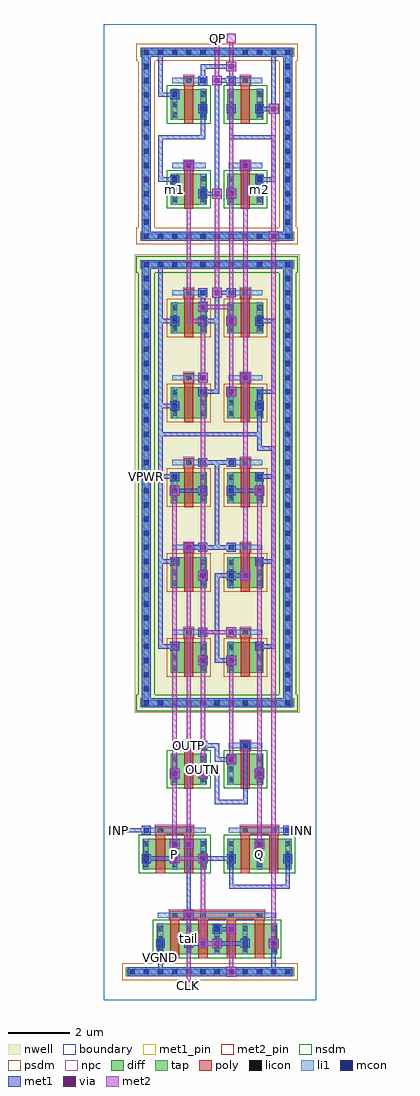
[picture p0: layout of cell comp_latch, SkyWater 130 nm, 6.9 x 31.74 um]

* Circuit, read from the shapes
.subckt comp_latch CLK INN INP OUTN OUTP P Q QN QP VGND VPWR m1 m2 tail
XM1 P INP tail VGND sky130_fd_pr__nfet_01v8 w=1 l=0.3 m=2
XM2 tail CLK VGND VGND sky130_fd_pr__nfet_01v8 w=1 l=0.3 m=4
XM3 OUTN OUTP P VGND sky130_fd_pr__nfet_01v8 w=1 l=0.3
XM4 QP OUTN m1 VGND sky130_fd_pr__nfet_01v8 w=1 l=0.3
XM5 m1 QN VGND VGND sky130_fd_pr__nfet_01v8 w=1 l=0.3
XM6 Q INN tail VGND sky130_fd_pr__nfet_01v8 w=1 l=0.3 m=2
XM7 Q OUTN OUTP VGND sky130_fd_pr__nfet_01v8 w=1 l=0.3
XM8 m2 OUTP QN VGND sky130_fd_pr__nfet_01v8 w=1 l=0.3
XM9 VGND QP m2 VGND sky130_fd_pr__nfet_01v8 w=1 l=0.3
XM10 OUTN OUTP VPWR VPWR sky130_fd_pr__pfet_01v8 w=1 l=0.3
XM11 OUTN CLK VPWR VPWR sky130_fd_pr__pfet_01v8 w=1 l=0.3
XM12 P CLK VPWR VPWR sky130_fd_pr__pfet_01v8 w=1 l=0.3
XM13 QP OUTN VPWR VPWR sky130_fd_pr__pfet_01v8 w=1 l=0.3
XM14 QP QN VPWR VPWR sky130_fd_pr__pfet_01v8 w=1 l=0.3
XM15 VPWR OUTN OUTP VPWR sky130_fd_pr__pfet_01v8 w=1 l=0.3
XM16 VPWR CLK OUTP VPWR sky130_fd_pr__pfet_01v8 w=1 l=0.3
XM17 VPWR CLK Q VPWR sky130_fd_pr__pfet_01v8 w=1 l=0.3
XM18 VPWR OUTP QN VPWR sky130_fd_pr__pfet_01v8 w=1 l=0.3
XM19 VPWR QP QN VPWR sky130_fd_pr__pfet_01v8 w=1 l=0.3
.ends

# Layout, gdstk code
import gdstk
lib = gdstk.Library(unit=1e-6, precision=1e-09)
def R(c, l, rs):  # rectangles x0, y0, x1, y1
    for r in rs: c.add(gdstk.rectangle(r[:2], r[2:], *l))
def A(c, l, x, y, w, h, nx, ny, dx, dy):  # array of equal rectangles
    R(c, l, [(x+i*dx, y+j*dy, x+i*dx+w, y+j*dy+h) for i in range(nx) for j in range(ny)])
nwell = (64, 20)
diff = (65, 20)
tap = (65, 44)
poly = (66, 20)
licon = (66, 44)
li1 = (67, 20)
mcon = (67, 44)
met1_pin = (68, 16)
met1 = (68, 20)
via = (68, 44)
met2_pin = (69, 16)
met2 = (69, 20)
nsdm = (93, 44)
psdm = (94, 20)
npc = (95, 20)
boundary = (235, 4)

comp_latch = lib.new_cell('comp_latch')
R(comp_latch, nwell, [(0.995,9.335,6.365,24.245)])
A(comp_latch, diff, 2.175, 10.64, 1.17, 1, 1, 5, 0, 2.76)
A(comp_latch, diff, 4.015, 10.64, 1.17, 1, 1, 5, 0, 2.76)
R(comp_latch, diff, [(1.715,1.485,5.645,2.485), (1.255,4.245,3.345,5.245), (4.015,4.245,6.105,5.245), (2.175,7.005,3.345,8.005), (4.015,7.005,5.185,8.005), (2.175,25.865,3.345,26.865), (4.015,25.865,5.185,26.865), (2.175,28.625,3.345,29.625), (4.015,28.625,5.185,29.625)])
R(comp_latch, tap, [(0.715,0.775,6.185,1.065), (1.175,9.515,6.185,9.805), (1.235,9.515,1.525,24.065), (5.835,9.515,6.125,24.065), (1.175,23.775,6.185,24.065), (1.175,24.695,6.185,24.985), (1.235,24.695,1.525,30.965), (5.835,24.695,6.125,30.965), (1.175,30.675,6.185,30.965)])
A(comp_latch, poly, 2.15, 1.355, 0.3, 1.405, 4, 1, 0.92, 0)
A(comp_latch, poly, 2.61, 10.51, 0.3, 1.45, 1, 5, 0, 2.76)
A(comp_latch, poly, 4.45, 10.51, 0.3, 1.45, 1, 5, 0, 2.76)
A(comp_latch, poly, 2.595, 11.825, 0.33, 0.27, 1, 5, 0, 2.76)
A(comp_latch, poly, 4.435, 11.825, 0.33, 0.27, 1, 5, 0, 2.76)
R(comp_latch, poly, [(2.135,2.625,5.225,2.895), (1.69,4.115,1.99,5.52), (2.61,4.115,2.91,5.52), (4.45,4.115,4.75,5.52), (5.37,4.115,5.67,5.52), (1.675,5.385,2.925,5.655), (4.435,5.385,5.685,5.655), (2.61,6.875,2.91,8.28), (4.45,6.875,4.75,8.28), (2.595,8.145,2.925,8.415), (4.435,8.145,4.765,8.415), (2.61,25.735,2.91,27.14), (4.45,25.735,4.75,27.14), (2.595,27.005,2.925,27.275), (4.435,27.005,4.765,27.275), (2.61,28.495,2.91,29.9), (4.45,28.495,4.75,29.9), (2.595,29.765,2.925,30.035), (4.435,29.765,4.765,30.035)])
A(comp_latch, licon, 0.835, 0.835, 0.17, 0.17, 12, 1, 0.46, 0)
A(comp_latch, licon, 1.755, 1.56, 0.17, 0.17, 5, 3, 0.92, 0.34)
A(comp_latch, licon, 2.215, 2.675, 0.17, 0.17, 4, 2, 0.92, 4.405)
A(comp_latch, licon, 1.295, 4.32, 0.17, 0.17, 6, 3, 0.92, 0.34)
A(comp_latch, licon, 2.215, 7.42, 0.17, 0.17, 4, 2, 0.92, 0.34)
A(comp_latch, licon, 1.295, 9.575, 0.17, 0.17, 11, 2, 0.46, 14.26)
A(comp_latch, licon, 1.295, 10.035, 0.17, 0.17, 1, 30, 0, 0.46)
A(comp_latch, licon, 5.895, 10.035, 0.17, 0.17, 1, 30, 0, 0.46)
A(comp_latch, licon, 2.215, 10.715, 0.17, 0.17, 4, 3, 0.92, 0.34)
A(comp_latch, licon, 2.675, 11.875, 0.17, 0.17, 1, 5, 0, 2.76)
A(comp_latch, licon, 4.515, 11.875, 0.17, 0.17, 1, 5, 0, 2.76)
A(comp_latch, licon, 2.215, 13.475, 0.17, 0.17, 4, 3, 0.92, 0.34)
A(comp_latch, licon, 2.215, 16.235, 0.17, 0.17, 4, 3, 0.92, 0.34)
A(comp_latch, licon, 2.215, 18.995, 0.17, 0.17, 4, 3, 0.92, 0.34)
A(comp_latch, licon, 2.215, 21.755, 0.17, 0.17, 4, 3, 0.92, 0.34)
A(comp_latch, licon, 1.295, 24.755, 0.17, 0.17, 11, 2, 0.46, 5.98)
A(comp_latch, licon, 1.295, 25.215, 0.17, 0.17, 1, 12, 0, 0.46)
A(comp_latch, licon, 5.895, 25.215, 0.17, 0.17, 1, 12, 0, 0.46)
A(comp_latch, licon, 2.215, 25.94, 0.17, 0.17, 4, 3, 0.92, 0.34)
A(comp_latch, licon, 2.215, 28.7, 0.17, 0.17, 4, 3, 0.92, 0.34)
R(comp_latch, licon, [(1.755,5.435,1.925,5.605), (2.675,5.435,2.845,5.605), (4.515,5.435,4.685,5.605), (5.435,5.435,5.605,5.605), (2.675,8.195,2.845,8.365), (4.515,8.195,4.685,8.365), (2.675,27.055,2.845,27.225), (4.515,27.055,4.685,27.225), (2.675,29.815,2.845,29.985), (4.515,29.815,4.685,29.985)])
A(comp_latch, li1, 1.755, 1.48, 0.17, 1.01, 5, 1, 0.92, 0)
A(comp_latch, li1, 1.295, 4.24, 0.17, 1.01, 6, 1, 0.92, 0)
A(comp_latch, li1, 2.215, 7, 0.17, 1.01, 4, 2, 0.92, 3.635)
A(comp_latch, li1, 2.215, 11.875, 1.09, 0.17, 1, 5, 0, 2.76)
A(comp_latch, li1, 4.055, 11.875, 1.09, 0.17, 1, 5, 0, 2.76)
A(comp_latch, li1, 2.215, 13.395, 0.17, 1.01, 4, 4, 0.92, 2.76)
A(comp_latch, li1, 2.215, 25.86, 0.17, 1.01, 4, 2, 0.92, 2.76)
R(comp_latch, li1, [(0.755,0.835,6.145,1.005), (1.755,2.675,5.605,2.845), (1.295,5.435,3.305,5.605), (4.055,5.435,6.065,5.605), (2.215,8.195,3.305,8.365), (4.055,8.195,5.145,8.365), (1.215,9.575,6.145,9.745), (1.295,9.575,1.465,24.005), (5.895,9.575,6.065,24.005), (1.215,23.835,6.145,24.005), (1.215,24.755,6.145,24.925), (1.295,24.755,1.465,30.905), (5.895,24.755,6.065,30.905), (2.215,27.055,3.305,27.225), (4.055,27.055,5.145,27.225), (2.215,29.815,3.305,29.985), (4.055,29.815,5.145,29.985), (1.215,30.735,6.145,30.905)])
A(comp_latch, mcon, 0.835, 0.835, 0.17, 0.17, 12, 1, 0.46, 0)
A(comp_latch, mcon, 4.055, 4.515, 0.17, 0.17, 1, 3, 0, 3.22)
A(comp_latch, mcon, 1.295, 9.575, 0.17, 0.17, 11, 2, 0.46, 14.26)
A(comp_latch, mcon, 1.295, 10.035, 0.17, 0.17, 1, 26, 0, 0.46)
A(comp_latch, mcon, 5.895, 10.035, 0.17, 0.17, 1, 22, 0, 0.46)
A(comp_latch, mcon, 2.215, 11.415, 0.17, 0.17, 1, 3, 0, 2.76)
A(comp_latch, mcon, 4.975, 11.415, 0.17, 0.17, 1, 3, 0, 2.76)
A(comp_latch, mcon, 3.135, 19.695, 0.17, 0.17, 1, 3, 0, 3.22)
A(comp_latch, mcon, 4.055, 19.695, 0.17, 0.17, 1, 3, 0, 3.22)
A(comp_latch, mcon, 3.135, 20.155, 0.17, 0.17, 3, 1, 1.38, 0)
A(comp_latch, mcon, 5.895, 20.615, 0.17, 0.17, 1, 3, 0, 0.46)
A(comp_latch, mcon, 1.295, 21.995, 0.17, 0.17, 6, 1, 0.92, 0)
A(comp_latch, mcon, 1.295, 22.455, 0.17, 0.17, 1, 3, 0, 0.46)
A(comp_latch, mcon, 5.895, 22.455, 0.17, 0.17, 1, 3, 0, 0.46)
A(comp_latch, mcon, 1.295, 24.755, 0.17, 0.17, 11, 2, 0.46, 5.98)
A(comp_latch, mcon, 1.295, 25.215, 0.17, 0.17, 1, 12, 0, 0.46)
A(comp_latch, mcon, 5.895, 25.215, 0.17, 0.17, 1, 8, 0, 0.46)
A(comp_latch, mcon, 3.135, 28.895, 0.17, 0.17, 4, 1, 0.92, 0)
A(comp_latch, mcon, 5.895, 29.355, 0.17, 0.17, 1, 3, 0, 0.46)
R(comp_latch, mcon, [(1.755,1.755,1.925,1.925), (2.675,1.755,2.845,1.925), (4.515,1.755,4.685,1.925), (5.435,1.755,5.605,1.925), (3.595,2.215,3.765,2.385), (2.675,2.675,2.845,2.845), (1.295,4.515,1.465,4.685), (3.135,4.515,3.305,4.685), (5.895,4.515,6.065,4.685), (2.215,4.975,2.385,5.145), (4.975,4.975,5.145,5.145), (1.295,5.435,1.465,5.605), (5.895,5.435,6.065,5.605), (2.215,7.275,2.385,7.445), (3.135,7.275,3.305,7.445), (4.975,7.275,5.145,7.445), (3.135,8.195,3.305,8.365), (4.515,8.195,4.685,8.365), (3.135,10.955,3.305,11.125), (3.135,11.875,3.305,12.045), (4.055,11.875,4.225,12.045), (3.135,13.715,3.305,13.885), (4.055,13.715,4.225,13.885), (3.135,14.635,3.305,14.805), (4.055,14.635,4.225,14.805), (3.135,16.475,3.305,16.645), (4.055,16.475,4.225,16.645), (3.135,17.395,3.305,17.565), (4.055,17.395,4.225,17.565), (2.215,19.235,2.385,19.405), (4.975,19.235,5.145,19.405), (2.215,26.595,2.385,26.765), (4.975,26.595,5.145,26.765), (2.675,27.055,2.845,27.225), (4.515,27.055,4.685,27.225), (2.215,29.355,2.385,29.525), (3.135,29.815,3.305,29.985), (4.055,29.815,4.225,29.985)])
R(comp_latch, met1_pin, [(1.77,0.85,1.91,1.91), (1.31,16.95,1.45,17.09)])
A(comp_latch, met1, 3.06, 1.68, 0.32, 0.32, 1, 3, 0, 2.76)
A(comp_latch, met1, 3.995, 4.455, 0.29, 0.29, 1, 3, 0, 3.22)
A(comp_latch, met1, 2.155, 11.355, 0.29, 0.29, 1, 3, 0, 2.76)
A(comp_latch, met1, 4.915, 11.355, 0.29, 0.29, 1, 3, 0, 2.76)
A(comp_latch, met1, 4.99, 11.43, 0.6, 0.14, 1, 3, 0, 2.76)
A(comp_latch, met1, 3.15, 17.41, 0.6, 0.14, 1, 3, 0, 2.3)
A(comp_latch, met1, 3.995, 19.635, 0.29, 0.29, 1, 3, 0, 3.22)
A(comp_latch, met1, 3.98, 21.92, 0.32, 0.32, 1, 3, 0, 4.14)
A(comp_latch, met1, 2.155, 21.935, 0.29, 0.29, 4, 1, 0.92, 0)
A(comp_latch, met1, 3.075, 28.835, 0.29, 0.29, 3, 1, 0.92, 0)
R(comp_latch, met1, [(3.98,0.76,4.3,1.08), (0.775,0.775,6.125,1.065), (1.77,0.85,1.91,1.91), (1.77,0.85,4.21,0.99), (4.07,0.85,5.59,0.99), (4.07,0.85,4.21,0.99), (5.45,0.85,5.59,1.91), (3.52,1.68,3.84,2), (5.36,1.68,5.68,2), (1.695,1.695,1.985,1.985), (2.615,1.695,2.905,1.985), (4.455,1.695,4.745,1.985), (5.375,1.695,5.665,1.985), (2.69,1.77,3.29,1.91), (3.61,1.77,4.67,1.91), (3.98,2.14,4.3,2.46), (3.535,2.155,3.825,2.445), (3.61,2.23,4.21,2.37), (2.6,2.6,2.92,2.92), (2.615,2.615,2.905,2.905), (2.69,2.69,2.83,5.13), (4.07,3.61,4.21,4.67), (4.07,3.61,6.05,3.75), (5.91,3.61,6.05,4.67), (2.14,4.44,2.46,4.76), (1.235,4.455,1.525,4.745), (3.075,4.455,3.365,4.745), (5.835,4.455,6.125,4.745), (1.31,4.53,2.37,4.67), (3.15,4.53,4.21,4.67), (2.14,4.9,2.46,5.22), (2.6,4.9,2.92,5.22), (4.9,4.9,5.22,5.22), (2.155,4.915,2.445,5.205), (4.915,4.915,5.205,5.205), (0.3,5.36,0.62,5.68), (6.28,5.36,6.6,5.68), (1.235,5.375,1.525,5.665), (5.835,5.375,6.125,5.665), (0.39,5.45,1.45,5.59), (5.91,5.45,6.51,5.59), (3.61,6.37,3.75,7.43), (3.61,6.37,4.67,6.51), (4.53,6.37,4.67,8.35), (2.14,7.2,2.46,7.52), (4.9,7.2,5.22,7.52), (2.155,7.215,2.445,7.505), (3.075,7.215,3.365,7.505), (4.915,7.215,5.205,7.505), (3.15,7.29,3.75,7.43), (3.98,7.66,4.3,7.98), (3.61,7.75,4.21,7.89), (3.61,7.75,3.75,8.35), (3.075,8.135,3.365,8.425), (4.455,8.135,4.745,8.425), (3.15,8.21,3.75,8.35), (1.235,9.515,1.525,24.065), (1.235,9.515,6.125,9.805), (5.835,9.515,6.125,24.065), (3.06,10.88,3.38,11.2), (3.98,10.88,4.3,11.2), (3.075,10.895,3.365,11.185), (3.61,10.97,4.21,11.11), (3.61,10.97,3.75,12.03), (1.77,11.43,1.91,14.33), (1.77,11.43,2.37,11.57), (5.45,11.43,5.59,14.33), (3.98,11.8,4.3,12.12), (3.075,11.815,3.365,12.105), (3.995,11.815,4.285,12.105), (3.15,11.89,3.75,12.03), (3.61,11.89,3.75,13.87), (3.06,13.64,3.38,13.96), (4.44,13.64,4.76,13.96), (3.075,13.655,3.365,13.945), (3.995,13.655,4.285,13.945), (3.61,13.73,4.21,13.87), (4.07,13.73,4.67,13.87), (1.77,14.19,1.91,17.09), (1.77,14.19,2.37,14.33), (5.45,14.19,5.59,17.09), (2.6,14.56,2.92,14.88), (3.075,14.575,3.365,14.865), (3.995,14.575,4.285,14.865), (2.69,14.65,3.29,14.79), (3.15,14.65,4.21,14.79), (3.61,14.65,3.75,17.55), (2.14,16.4,2.46,16.72), (4.9,16.4,5.22,16.72), (3.075,16.415,3.365,16.705), (3.995,16.415,4.285,16.705), (2.23,16.49,3.29,16.63), (4.07,16.49,5.13,16.63), (1.31,16.95,2.37,17.09), (1.31,16.95,1.45,17.09), (1.77,16.95,1.91,19.39), (5.45,16.95,5.59,18.01), (3.075,17.335,3.365,17.625), (3.995,17.335,4.285,17.625), (3.61,17.41,4.21,17.55), (4.99,17.87,5.59,18.01), (4.99,17.87,5.13,18.47), (1.77,18.33,5.13,18.47), (4.99,18.33,5.13,19.39), (2.155,19.175,2.445,19.465), (4.915,19.175,5.205,19.465), (1.77,19.25,1.91,22.15), (1.77,19.25,2.37,19.39), (4.99,19.25,5.13,19.85), (3.98,19.62,4.3,19.94), (3.075,19.635,3.365,19.925), (3.61,19.71,3.75,22.15), (4.99,19.71,5.59,19.85), (5.45,19.71,5.59,22.15), (3.06,20.08,3.38,20.4), (4.44,20.08,4.76,20.4), (3.075,20.095,3.365,20.385), (4.455,20.095,4.745,20.385), (1.77,22.01,2.37,22.15), (1.77,22.01,1.91,23.99), (3.61,22.01,3.75,23.07), (4.99,22.01,5.59,22.15), (3.06,22.38,3.38,22.7), (3.15,22.47,3.29,23.07), (3.52,22.84,3.84,23.16), (3.075,22.855,3.365,23.145), (3.61,22.93,4.21,23.07), (1.235,23.775,6.125,24.065), (1.77,23.85,1.91,23.99), (5.36,24.68,5.68,25), (1.235,24.695,1.525,30.965), (1.235,24.695,6.125,24.985), (5.835,24.695,6.125,30.965), (5.45,24.77,5.59,24.91), (3.52,26.06,3.84,26.38), (3.075,26.075,3.365,26.365), (3.15,26.15,3.75,26.29), (3.61,26.15,3.75,29.97), (2.155,26.535,2.445,26.825), (4.915,26.535,5.205,26.825), (1.77,26.61,2.37,26.75), (1.77,26.61,1.91,28.13), (4.99,26.61,5.59,26.75), (5.45,26.61,5.59,28.13), (2.6,26.98,2.92,27.3), (4.44,26.98,4.76,27.3), (2.615,26.995,2.905,27.285), (4.455,26.995,4.745,27.285), (1.77,27.99,3.29,28.13), (3.15,27.99,3.29,29.05), (4.07,27.99,5.59,28.13), (4.07,27.99,4.21,29.05), (5.36,28.82,5.68,29.14), (4.99,28.91,5.59,29.05), (5.45,28.91,5.59,30.89), (2.155,29.295,2.445,29.585), (1.77,29.37,2.37,29.51), (1.77,29.37,1.91,30.89), (3.52,29.74,3.84,30.06), (3.075,29.755,3.365,30.045), (3.995,29.755,4.285,30.045), (3.15,29.83,3.29,30.43), (3.61,29.83,4.21,29.97), (3.15,30.29,4.21,30.43), (1.235,30.675,6.125,30.965), (1.77,30.75,5.59,30.89), (5.45,30.75,5.59,30.89)])
A(comp_latch, via, 3.145, 1.765, 0.15, 0.15, 1, 3, 0, 2.76)
A(comp_latch, via, 4.065, 22.005, 0.15, 0.15, 1, 3, 0, 4.14)
R(comp_latch, via, [(4.065,0.845,4.215,0.995), (3.605,1.765,3.755,1.915), (5.445,1.765,5.595,1.915), (4.065,2.225,4.215,2.375), (2.685,2.685,2.835,2.835), (2.225,4.525,2.375,4.675), (2.225,4.985,2.375,5.135), (2.685,4.985,2.835,5.135), (4.985,4.985,5.135,5.135), (0.385,5.445,0.535,5.595), (6.365,5.445,6.515,5.595), (2.225,7.285,2.375,7.435), (4.985,7.285,5.135,7.435), (4.065,7.745,4.215,7.895), (3.145,10.965,3.295,11.115), (4.065,10.965,4.215,11.115), (4.065,11.885,4.215,12.035), (3.145,13.725,3.295,13.875), (4.525,13.725,4.675,13.875), (2.685,14.645,2.835,14.795), (2.225,16.485,2.375,16.635), (4.985,16.485,5.135,16.635), (4.065,19.705,4.215,19.855), (3.145,20.165,3.295,20.315), (4.525,20.165,4.675,20.315), (3.145,22.465,3.295,22.615), (3.605,22.925,3.755,23.075), (5.445,24.765,5.595,24.915), (3.605,26.145,3.755,26.295), (2.685,27.065,2.835,27.215), (4.525,27.065,4.675,27.215), (5.445,28.905,5.595,29.055), (3.605,29.825,3.755,29.975)])
R(comp_latch, met2_pin, [(2.61,0.31,2.91,0.61), (0.31,5.37,0.61,5.67), (6.29,5.37,6.59,5.67), (3.53,31.13,3.83,31.43), (3.99,31.13,4.29,31.43)])
A(comp_latch, met2, 3.06, 1.68, 0.32, 0.32, 1, 3, 0, 2.76)
A(comp_latch, met2, 3.98, 21.92, 0.32, 0.32, 1, 3, 0, 4.14)
R(comp_latch, met2, [(2.61,0.31,2.91,0.61), (2.69,0.39,2.83,2.83), (2.69,0.39,2.83,0.53), (3.98,0.76,4.3,1.08), (4.07,0.85,4.21,2.37), (3.52,1.68,3.84,2), (5.36,1.68,5.68,2), (3.15,1.77,3.75,1.91), (3.15,1.77,3.29,4.67), (5.45,1.77,5.59,24.91), (3.98,2.14,4.3,2.46), (2.6,2.6,2.92,2.92), (2.14,4.44,2.46,4.76), (2.23,4.53,3.29,4.67), (2.14,4.9,2.46,5.22), (2.6,4.9,2.92,5.22), (4.9,4.9,5.22,5.22), (2.23,4.99,2.37,7.43), (2.69,4.99,2.83,14.79), (4.99,4.99,5.13,7.43), (0.3,5.36,0.62,5.68), (6.28,5.36,6.6,5.68), (0.31,5.37,0.61,5.67), (6.29,5.37,6.59,5.67), (0.39,5.45,0.53,5.59), (6.37,5.45,6.51,5.59), (2.14,7.2,2.46,7.52), (4.9,7.2,5.22,7.52), (2.23,7.29,2.37,16.63), (3.15,7.29,3.29,11.11), (4.99,7.29,5.13,16.63), (3.98,7.66,4.3,7.98), (4.07,7.75,4.21,11.11), (3.06,10.88,3.38,11.2), (3.98,10.88,4.3,11.2), (3.15,10.97,3.29,12.03), (3.98,11.8,4.3,12.12), (3.15,11.89,4.21,12.03), (3.15,11.89,3.29,13.87), (3.06,13.64,3.38,13.96), (4.44,13.64,4.76,13.96), (3.15,13.73,3.29,20.31), (4.53,13.73,4.67,20.31), (2.6,14.56,2.92,14.88), (2.14,16.4,2.46,16.72), (4.9,16.4,5.22,16.72), (3.98,19.62,4.3,19.94), (4.07,19.71,4.21,22.15), (3.06,20.08,3.38,20.4), (4.44,20.08,4.76,20.4), (3.15,20.17,3.29,22.15), (4.53,20.17,4.67,27.21), (2.69,22.01,3.29,22.15), (2.69,22.01,2.83,27.21), (4.07,22.01,4.21,22.61), (3.06,22.38,3.38,22.7), (3.15,22.47,4.21,22.61), (4.07,22.47,4.21,26.29), (3.52,22.84,3.84,23.16), (3.61,22.93,3.75,26.29), (5.36,24.68,5.68,25), (5.45,24.77,5.59,29.05), (3.52,26.06,3.84,26.38), (4.07,26.15,4.21,31.35), (2.6,26.98,2.92,27.3), (4.44,26.98,4.76,27.3), (5.36,28.82,5.68,29.14), (3.52,29.74,3.84,30.06), (3.61,29.83,3.75,31.35), (3.53,31.13,3.83,31.43), (3.99,31.13,4.29,31.43), (3.61,31.21,3.75,31.35), (4.07,31.21,4.21,31.35)])
R(comp_latch, nsdm, [(1.59,1.36,5.77,2.61), (1.13,4.12,3.47,5.37), (3.89,4.12,6.23,5.37), (2.05,6.88,3.47,8.13), (3.89,6.88,5.31,8.13), (1.05,9.39,6.31,9.93), (1.11,9.93,1.65,23.65), (5.71,9.93,6.25,23.65), (1.05,23.65,6.31,24.19), (2.05,25.74,3.47,26.99), (3.89,25.74,5.31,26.99), (2.05,28.5,3.47,29.75), (3.89,28.5,5.31,29.75)])
A(comp_latch, psdm, 2.05, 10.515, 1.42, 1.25, 1, 5, 0, 2.76)
A(comp_latch, psdm, 3.89, 10.515, 1.42, 1.25, 1, 5, 0, 2.76)
R(comp_latch, psdm, [(0.59,0.65,6.31,1.19), (1.05,24.57,6.31,25.11), (1.11,25.11,1.65,30.55), (5.71,25.11,6.25,30.55), (1.05,30.55,6.31,31.09)])
A(comp_latch, npc, 2.575, 11.775, 0.37, 0.37, 1, 5, 0, 2.76)
A(comp_latch, npc, 4.415, 11.775, 0.37, 0.37, 1, 5, 0, 2.76)
R(comp_latch, npc, [(2.115,2.575,5.245,2.945), (1.655,5.335,2.945,5.705), (4.415,5.335,5.705,5.705), (2.575,8.095,2.945,8.465), (4.415,8.095,4.785,8.465), (2.575,26.955,2.945,27.325), (4.415,26.955,4.785,27.325), (2.575,29.715,2.945,30.085), (4.415,29.715,4.785,30.085)])
R(comp_latch, boundary, [(0,0,6.9,31.74)])
comp_latch.add(gdstk.Label('tail', (2.76,1.985), layer=67, texttype=5))
comp_latch.add(gdstk.Label('P', (2.3,4.745), layer=67, texttype=5))
comp_latch.add(gdstk.Label('Q', (5.06,4.745), layer=67, texttype=5))
comp_latch.add(gdstk.Label('OUTP', (2.76,8.28), layer=67, texttype=5))
comp_latch.add(gdstk.Label('OUTN', (3.22,7.505), layer=67, texttype=5))
comp_latch.add(gdstk.Label('m1', (2.3,26.365), layer=67, texttype=5))
comp_latch.add(gdstk.Label('m2', (5.06,26.365), layer=67, texttype=5))
comp_latch.add(gdstk.Label('VPWR', (1.38,17.02), layer=68, texttype=5))
comp_latch.add(gdstk.Label('VGND', (1.84,1.38), layer=68, texttype=5))
comp_latch.add(gdstk.Label('CLK', (2.76,0.46), layer=69, texttype=5))
comp_latch.add(gdstk.Label('INP', (0.46,5.52), layer=69, texttype=5))
comp_latch.add(gdstk.Label('INN', (6.44,5.52), layer=69, texttype=5))
comp_latch.add(gdstk.Label('QP', (3.68,31.28), layer=69, texttype=5))
comp_latch.add(gdstk.Label('QN', (4.14,31.28), layer=69, texttype=5))
comp_latch.add(gdstk.Label('VPWR', (1.38,17.02), layer=68, texttype=16))
comp_latch.add(gdstk.Label('VGND', (1.84,1.38), layer=68, texttype=16))
comp_latch.add(gdstk.Label('CLK', (2.76,0.46), layer=69, texttype=16))
comp_latch.add(gdstk.Label('INP', (0.46,5.52), layer=69, texttype=16))
comp_latch.add(gdstk.Label('INN', (6.44,5.52), layer=69, texttype=16))
comp_latch.add(gdstk.Label('QP', (3.68,31.28), layer=69, texttype=16))
comp_latch.add(gdstk.Label('QN', (4.14,31.28), layer=69, texttype=16))

lib.write_gds('comp_latch.gds')
